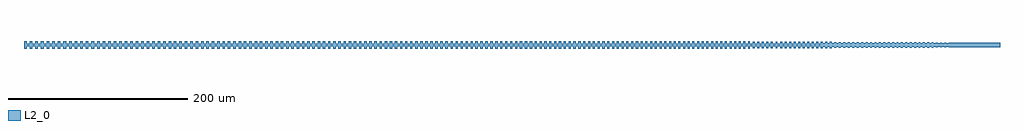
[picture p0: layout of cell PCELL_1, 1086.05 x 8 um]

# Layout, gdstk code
import gdstk
lib = gdstk.Library(unit=1e-6, precision=1e-09)
def R(c, l, rs):  # rectangles x0, y0, x1, y1
    for r in rs: c.add(gdstk.rectangle(r[:2], r[2:], *l))
def A(c, l, x, y, w, h, nx, ny, dx, dy):  # array of equal rectangles
    R(c, l, [(x+i*dx, y+j*dy, x+i*dx+w, y+j*dy+h) for i in range(nx) for j in range(ny)])
L2_0 = (2, 0)

pcell_1 = lib.new_cell('PCELL_1')
A(pcell_1, L2_0, 0, -4, 2.9, 8, 5, 1, 6.3, 0)
A(pcell_1, L2_0, 31.45, -4, 2.9, 8, 5, 1, 6.25, 0)
A(pcell_1, L2_0, 62.7, -4, 2.85, 8, 4, 1, 6.2, 0)
A(pcell_1, L2_0, 87.45, -4, 2.85, 8, 7, 1, 6.15, 0)
A(pcell_1, L2_0, 136.6, -4, 2.8, 8, 10, 1, 6.05, 0)
A(pcell_1, L2_0, 197.1, -4, 2.75, 8, 11, 1, 5.95, 0)
A(pcell_1, L2_0, 268.4, -4, 2.7, 8, 9, 1, 5.85, 0)
A(pcell_1, L2_0, 332.6, -4, 2.65, 8, 9, 1, 5.75, 0)
A(pcell_1, L2_0, 384.3, -4, 2.65, 8, 4, 1, 5.7, 0)
A(pcell_1, L2_0, 407.1, -4, 2.6, 8, 7, 1, 5.65, 0)
A(pcell_1, L2_0, 446.6, -4, 2.6, 8, 6, 1, 5.6, 0)
A(pcell_1, L2_0, 480.2, -4, 2.55, 8, 5, 1, 5.55, 0)
A(pcell_1, L2_0, 507.9, -4, 2.55, 8, 8, 1, 5.5, 0)
A(pcell_1, L2_0, 551.9, -4, 2.5, 8, 4, 1, 5.45, 0)
A(pcell_1, L2_0, 573.65, -4, 2.5, 8, 5, 1, 5.4, 0)
A(pcell_1, L2_0, 606, -4, 2.45, 8, 4, 1, 5.4, 0)
A(pcell_1, L2_0, 627.6, -4, 2.4, 8, 6, 1, 5.35, 0)
A(pcell_1, L2_0, 659.7, -4, 2.35, 8, 6, 1, 5.3, 0)
A(pcell_1, L2_0, 691.5, -4, 2.3, 8, 6, 1, 5.25, 0)
A(pcell_1, L2_0, 723, -4, 2.25, 8, 7, 1, 5.2, 0)
A(pcell_1, L2_0, 759.4, -4, 2.2, 8, 8, 1, 5.15, 0)
A(pcell_1, L2_0, 2.9, -1.25, 3.4, 2.5, 4, 1, 6.3, 0)
A(pcell_1, L2_0, 28.1, -1.25, 3.35, 2.5, 6, 1, 6.25, 0)
A(pcell_1, L2_0, 65.55, -1.25, 3.35, 2.5, 3, 1, 6.2, 0)
A(pcell_1, L2_0, 84.15, -1.25, 3.3, 2.5, 8, 1, 6.15, 0)
A(pcell_1, L2_0, 139.4, -1.25, 3.25, 2.5, 10, 1, 6.05, 0)
A(pcell_1, L2_0, 199.85, -1.25, 3.2, 2.5, 10, 1, 5.95, 0)
A(pcell_1, L2_0, 265.25, -1.25, 3.15, 2.5, 9, 1, 5.85, 0)
A(pcell_1, L2_0, 317.9, -1.25, 3.1, 2.5, 3, 1, 5.8, 0)
A(pcell_1, L2_0, 335.25, -1.25, 3.1, 2.5, 8, 1, 5.75, 0)
A(pcell_1, L2_0, 381.25, -1.25, 3.05, 2.5, 5, 1, 5.7, 0)
A(pcell_1, L2_0, 409.7, -1.25, 3.05, 2.5, 6, 1, 5.65, 0)
A(pcell_1, L2_0, 443.6, -1.25, 3, 2.5, 7, 1, 5.6, 0)
A(pcell_1, L2_0, 482.75, -1.25, 3, 2.5, 4, 1, 5.55, 0)
A(pcell_1, L2_0, 504.95, -1.25, 2.95, 2.5, 9, 1, 5.5, 0)
A(pcell_1, L2_0, 554.4, -1.25, 2.95, 2.5, 3, 1, 5.45, 0)
A(pcell_1, L2_0, 570.75, -1.25, 2.9, 2.5, 6, 1, 5.4, 0)
A(pcell_1, L2_0, 608.45, -1.25, 2.95, 2.5, 4, 1, 5.4, 0)
A(pcell_1, L2_0, 630, -1.25, 2.95, 2.5, 6, 1, 5.35, 0)
A(pcell_1, L2_0, 662.05, -1.25, 2.95, 2.5, 6, 1, 5.3, 0)
A(pcell_1, L2_0, 693.8, -1.25, 2.95, 2.5, 6, 1, 5.25, 0)
A(pcell_1, L2_0, 725.25, -1.25, 2.95, 2.5, 7, 1, 5.2, 0)
A(pcell_1, L2_0, 761.6, -1.25, 2.95, 2.5, 8, 1, 5.15, 0)
R(pcell_1, L2_0, [(130.5,-4,133.3,4), (262.5,-4,265.25,4), (321,-4,323.7,4), (326.8,-4,329.5,4), (600.65,-4,603.1,4), (800.6,-3.955,802.75,3.955), (805.7,-3.915,807.85,3.915), (810.8,-3.88,812.95,3.88), (815.9,-3.845,818.05,3.845), (821,-3.82,823.15,3.82), (826.1,-3.785,828.25,3.785), (831.2,-3.745,833.35,3.745), (836.3,-3.71,838.45,3.71), (841.4,-3.675,843.55,3.675), (846.5,-3.645,848.65,3.645), (851.6,-3.62,853.7,3.62), (856.65,-3.595,858.75,3.595), (861.7,-3.555,863.8,3.555), (866.75,-3.525,868.85,3.525), (871.8,-3.49,873.9,3.49), (876.8,-3.465,878.9,3.465), (881.8,-3.44,883.9,3.44), (886.8,-3.415,888.9,3.415), (891.8,-3.39,893.9,3.39), (896.8,-3.355,898.9,3.355), (901.8,-3.325,903.9,3.325), (906.8,-3.295,908.9,3.295), (911.8,-3.27,913.9,3.27), (916.8,-3.245,918.85,3.245), (921.75,-3.225,923.8,3.225), (926.7,-3.205,928.75,3.205), (931.65,-3.175,933.7,3.175), (936.6,-3.145,938.65,3.145), (941.55,-3.115,943.6,3.115), (946.45,-3.09,948.5,3.09), (951.35,-3.065,953.4,3.065), (956.25,-3.045,958.3,3.045), (961.15,-3.025,963.2,3.025), (966.05,-3.01,968.1,3.01), (970.95,-2.985,973,2.985), (975.85,-2.955,977.9,2.955), (980.75,-2.925,982.8,2.925), (985.65,-2.9,987.7,2.9), (990.55,-2.88,992.6,2.88), (995.45,-2.86,997.45,2.86), (1000.25,-2.84,1002.25,2.84), (1005.05,-2.825,1007.05,2.825), (1009.85,-2.805,1011.85,2.805), (1014.65,-2.78,1016.65,2.78), (1019.45,-2.755,1021.45,2.755), (1024.25,-2.73,1026.25,2.73), (1029.05,-2.705,1031.05,2.705), (1033.85,-2.685,1035.85,2.685), (1038.65,-2.665,1040.65,2.665), (1043.4,-2.645,1045.4,2.645), (1048.15,-2.63,1050.15,2.63), (1052.9,-2.615,1054.9,2.615), (1057.65,-2.6,1059.65,2.6), (1062.4,-2.57,1064.4,2.57), (1067.15,-2.545,1069.15,2.545), (1071.9,-2.525,1073.9,2.525), (1076.65,-2.5,1078.65,2.5), (1081.35,-2.48,1083.35,2.48), (1083.35,-2.445,1086.05,2.445), (1078.65,-2.43,1081.35,2.43), (1073.9,-2.415,1076.65,2.415), (1069.15,-2.4,1071.9,2.4), (1064.4,-2.375,1067.15,2.375), (1059.65,-2.35,1062.4,2.35), (1054.9,-2.33,1057.65,2.33), (1050.15,-2.31,1052.9,2.31), (1045.4,-2.29,1048.15,2.29), (1040.65,-2.27,1043.4,2.27), (1035.85,-2.255,1038.65,2.255), (1031.05,-2.24,1033.85,2.24), (1026.25,-2.225,1029.05,2.225), (1021.45,-2.21,1024.25,2.21), (1016.65,-2.195,1019.45,2.195), (1011.85,-2.17,1014.65,2.17), (1007.05,-2.145,1009.85,2.145), (1002.25,-2.12,1005.05,2.12), (997.45,-2.1,1000.25,2.1), (992.6,-2.085,995.45,2.085), (987.7,-2.065,990.55,2.065), (982.8,-2.05,985.65,2.05), (977.9,-2.035,980.75,2.035), (973,-2.02,975.85,2.02), (968.1,-2.005,970.95,2.005), (963.2,-1.985,966.05,1.985), (958.3,-1.96,961.15,1.96), (953.4,-1.935,956.25,1.935), (948.5,-1.915,951.35,1.915), (943.6,-1.895,946.45,1.895), (938.65,-1.875,941.55,1.875), (933.7,-1.86,936.6,1.86), (928.75,-1.84,931.65,1.84), (923.8,-1.83,926.7,1.83), (918.85,-1.815,921.75,1.815), (913.9,-1.8,916.8,1.8), (908.9,-1.77,911.8,1.77), (903.9,-1.745,906.8,1.745), (898.9,-1.72,901.8,1.72), (893.9,-1.7,896.8,1.7), (888.9,-1.68,891.8,1.68), (883.9,-1.66,886.8,1.66), (878.9,-1.64,881.8,1.64), (873.9,-1.625,876.8,1.625), (868.85,-1.61,871.8,1.61), (863.8,-1.59,866.75,1.59), (858.75,-1.56,861.7,1.56), (853.7,-1.535,856.65,1.535), (848.65,-1.505,851.6,1.505), (843.55,-1.485,846.5,1.485), (838.45,-1.46,841.4,1.46), (833.35,-1.44,836.3,1.44), (828.25,-1.425,831.2,1.425), (823.15,-1.405,826.1,1.405), (818.05,-1.375,821,1.375), (812.95,-1.34,815.9,1.34), (807.85,-1.305,810.8,1.305), (802.75,-1.28,805.7,1.28), (133.3,-1.25,136.6,1.25), (259.35,-1.25,262.5,1.25), (603.1,-1.25,606,1.25)])

lib.write_gds('PCELL_1.gds')
